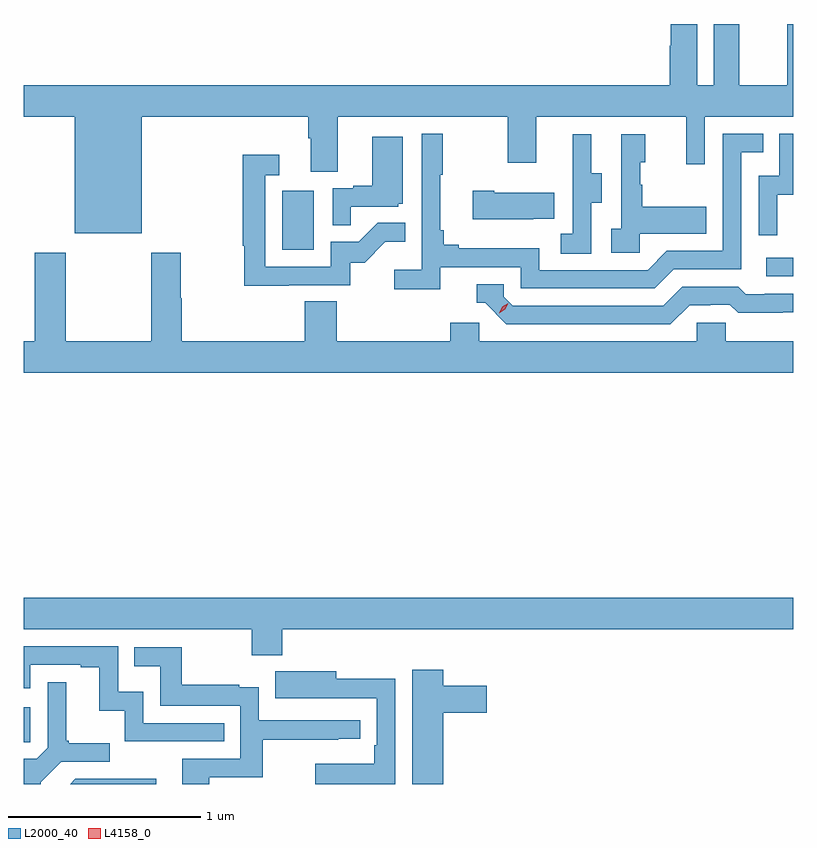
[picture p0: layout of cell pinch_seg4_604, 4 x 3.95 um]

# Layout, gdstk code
import gdstk
lib = gdstk.Library(unit=1e-6, precision=1e-09)
def R(c, l, rs):  # rectangles x0, y0, x1, y1
    for r in rs: c.add(gdstk.rectangle(r[:2], r[2:], *l))
def P(c, l, *ps):  # polygons
    for p in ps: c.add(gdstk.Polygon(p, *l))
L2000_40 = (2000, 40)
L4158_0 = (4158, 0)

pinch_seg4_604 = lib.new_cell('pinch_seg4_604')
R(pinch_seg4_604, L2000_40, [(1068.848,781.581,1068.882,781.761), (1072.707,784.002,1072.848,784.098), (1070.192,784.14,1070.356,784.447)])
P(pinch_seg4_604, L2000_40, [(1069.462,784.832),(1070.327,784.832),(1070.327,784.72),(1070.339,784.72),(1070.339,784.546),(1070.479,784.546),(1070.479,784.832),(1071.364,784.832),(1071.364,784.593),(1071.511,784.593),(1071.511,784.832),(1072.292,784.832),(1072.292,784.584),(1072.389,784.584),(1072.389,784.832),(1072.848,784.832),(1072.848,785.314),(1072.817,785.314),(1072.817,784.996),(1072.567,784.996),(1072.567,785.314),(1072.436,785.314),(1072.436,784.996),(1072.348,784.996),(1072.348,785.314),(1072.211,785.314),(1072.211,785.201),(1072.205,785.201),(1072.205,784.996),(1068.848,784.996),(1068.848,784.832),(1069.112,784.832),(1069.112,784.226),(1069.462,784.226)],
  [(1071.014,784.05),(1071.432,784.05),(1071.432,783.939),(1072.129,783.939),(1072.228,784.038),(1072.578,784.038),(1072.578,784.647),(1072.691,784.647),(1072.691,784.743),(1072.482,784.743),(1072.482,784.134),(1072.191,784.134),(1072.092,784.035),(1071.528,784.035),(1071.528,784.147),(1071.109,784.147),(1071.109,784.166),(1071.032,784.166),(1071.032,784.243),(1071.013,784.243),(1071.013,784.531),(1071.025,784.531),(1071.025,784.744),(1070.916,784.744),(1070.916,784.036),(1070.775,784.036),(1070.775,783.934),(1071.014,783.934)],
  [(1072.764,784.427),(1072.848,784.427),(1072.848,784.743),(1072.776,784.743),(1072.776,784.524),(1072.668,784.524),(1072.668,784.215),(1072.764,784.215)],
  [(1072.05,784.223),(1072.397,784.223),(1072.397,784.363),(1072.063,784.363),(1072.063,784.478),(1072.053,784.478),(1072.053,784.596),(1072.078,784.596),(1072.078,784.741),(1071.954,784.741),(1071.954,784.25),(1071.903,784.25),(1071.903,784.125),(1072.05,784.125)],
  [(1071.798,784.384),(1071.853,784.384),(1071.853,784.539),(1071.799,784.539),(1071.799,784.741),(1071.701,784.741),(1071.701,784.527),(1071.702,784.527),(1071.702,784.223),(1071.639,784.223),(1071.639,784.12),(1071.798,784.12)],
  [(1070.549,784.365),(1070.796,784.365),(1070.796,784.38),(1070.818,784.38),(1070.818,784.729),(1070.66,784.729),(1070.66,784.474),(1070.561,784.474),(1070.561,784.461),(1070.454,784.461),(1070.454,784.267),(1070.549,784.267)],
  [(1070.225,783.957),(1070.544,783.957),(1070.544,784.074),(1070.62,784.074),(1070.727,784.181),(1070.831,784.181),(1070.831,784.28),(1070.687,784.28),(1070.589,784.182),(1070.445,784.182),(1070.445,784.053),(1070.103,784.053),(1070.103,784.527),(1070.176,784.527),(1070.176,784.633),(1069.987,784.633),(1069.987,784.16),(1069.995,784.16),(1069.995,783.952),(1070.225,783.952)],
  [(1071.497,784.301),(1071.605,784.301),(1071.605,784.438),(1071.295,784.438),(1071.295,784.446),(1071.183,784.446),(1071.183,784.298),(1071.497,784.298)],
  [(1072.848,783.664),(1072.497,783.664),(1072.497,783.762),(1072.347,783.762),(1072.347,783.664),(1071.216,783.664),(1071.216,783.762),(1071.065,783.762),(1071.065,783.664),(1070.474,783.664),(1070.474,783.872),(1070.309,783.872),(1070.309,783.664),(1069.67,783.664),(1069.67,783.887),(1069.665,783.887),(1069.665,784.126),(1069.51,784.126),(1069.51,783.664),(1069.065,783.664),(1069.065,784.126),(1068.905,784.126),(1068.905,783.664),(1068.848,783.664),(1068.848,783.5),(1072.848,783.5)],
  [(1072.309,783.852),(1072.416,783.852),(1072.416,783.855),(1072.519,783.855),(1072.561,783.813),(1072.794,783.813),(1072.794,783.815),(1072.848,783.815),(1072.848,783.912),(1072.699,783.912),(1072.699,783.909),(1072.6,783.909),(1072.561,783.948),(1072.272,783.948),(1072.173,783.849),(1071.39,783.849),(1071.342,783.897),(1071.342,783.96),(1071.203,783.96),(1071.203,783.864),(1071.246,783.864),(1071.357,783.753),(1072.21,783.753)],
  [(1070.192,782.168),(1072.848,782.168),(1072.848,782.332),(1068.848,782.332),(1068.848,782.168),(1070.032,782.168),(1070.032,782.033),(1070.192,782.033)],
  [(1069.889,781.68),(1069.47,781.68),(1069.47,781.843),(1069.338,781.843),(1069.338,782.079),(1068.848,782.079),(1068.848,781.86),(1068.882,781.86),(1068.882,781.983),(1069.145,781.983),(1069.145,781.971),(1069.241,781.971),(1069.241,781.745),(1069.374,781.745),(1069.374,781.584),(1069.889,781.584)],
  [(1069.813,781.398),(1070.09,781.398),(1070.09,781.594),(1070.483,781.594),(1070.483,781.599),(1070.596,781.599),(1070.596,781.695),(1070.07,781.695),(1070.07,781.867),(1069.967,781.867),(1069.967,781.879),(1069.669,781.879),(1069.669,782.073),(1069.423,782.073),(1069.423,781.976),(1069.558,781.976),(1069.558,781.77),(1069.974,781.77),(1069.974,781.494),(1069.673,781.494),(1069.673,781.363),(1069.813,781.363)],
  [(1071.028,781.733),(1071.256,781.733),(1071.256,781.875),(1071.028,781.875),(1071.028,781.957),(1070.867,781.957),(1070.867,781.363),(1071.028,781.363)],
  [(1070.778,781.91),(1070.473,781.91),(1070.473,781.948),(1070.155,781.948),(1070.155,781.808),(1070.369,781.808),(1070.369,781.809),(1070.682,781.809),(1070.682,781.564),(1070.669,781.564),(1070.669,781.468),(1070.364,781.468),(1070.364,781.363),(1070.778,781.363)],
  [(1068.937,781.372),(1069.044,781.479),(1069.294,781.479),(1069.294,781.576),(1069.081,781.576),(1069.081,781.588),(1069.069,781.588),(1069.069,781.891),(1068.972,781.891),(1068.972,781.551),(1068.915,781.494),(1068.848,781.494),(1068.848,781.363),(1068.937,781.363)],
  [(1069.537,781.391),(1069.332,781.391),(1069.332,781.389),(1069.116,781.389),(1069.09,781.363),(1069.537,781.363)])
P(pinch_seg4_604, L4158_0, [(1071.319,783.811),(1071.319,783.811),(1071.335,783.844),(1071.366,783.862),(1071.366,783.862),(1071.366,783.862),(1071.35,783.83),(1071.319,783.811)])

lib.write_gds('pinch_seg4_604.gds')
